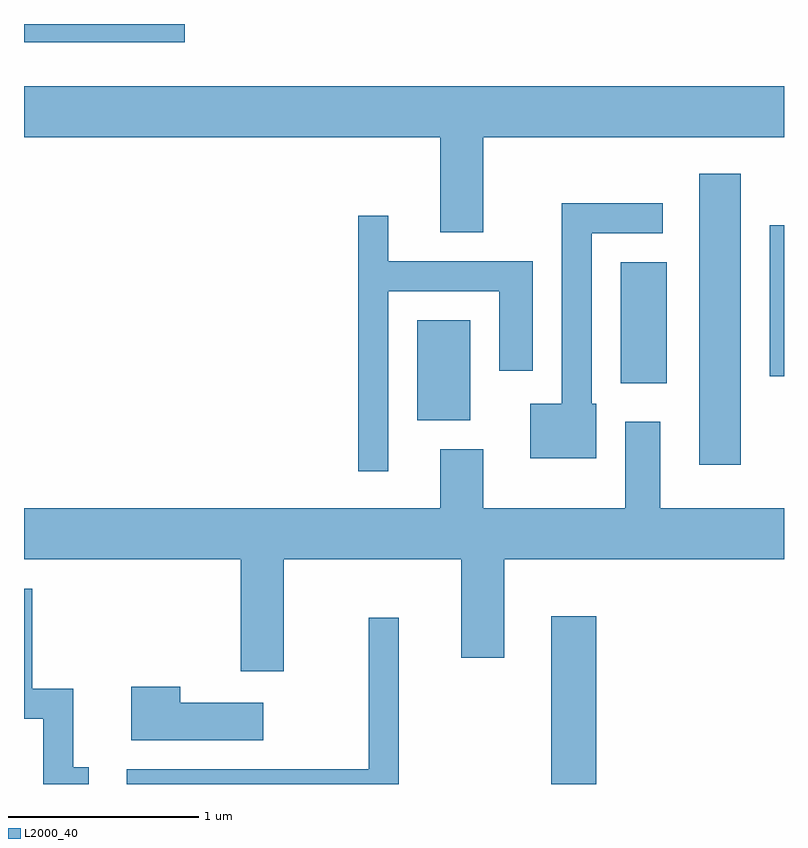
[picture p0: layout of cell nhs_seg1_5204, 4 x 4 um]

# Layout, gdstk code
import gdstk
lib = gdstk.Library(unit=1e-6, precision=1e-09)
def R(c, l, rs):  # rectangles x0, y0, x1, y1
    for r in rs: c.add(gdstk.rectangle(r[:2], r[2:], *l))
def P(c, l, *ps):  # polygons
    for p in ps: c.add(gdstk.Polygon(p, *l))
L2000_40 = (2000, 40)

nhs_seg1_5204 = lib.new_cell('nhs_seg1_5204')
R(nhs_seg1_5204, L2000_40, [(344.386,911.712,344.624,912.594), (345.166,913.391,345.384,914.924), (343.681,913.626,343.959,914.154), (344.751,913.821,344.994,914.459), (345.536,913.858,345.611,914.654), (341.611,915.616,342.458,915.712)])
P(nhs_seg1_5204, L2000_40, [(344.029,915.116),(345.611,915.116),(345.611,915.384),(341.611,915.384),(341.611,915.116),(343.801,915.116),(343.801,914.616),(344.029,914.616)],
  [(344.624,913.714),(344.599,913.714),(344.599,914.611),(344.973,914.611),(344.973,914.769),(344.441,914.769),(344.441,913.714),(344.276,913.714),(344.276,913.426),(344.624,913.426)],
  [(343.529,914.306),(344.111,914.306),(344.111,913.886),(344.289,913.886),(344.289,914.464),(343.529,914.464),(343.529,914.703),(343.371,914.703),(343.371,913.358),(343.529,913.358)],
  [(342.979,912.896),(343.911,912.896),(343.911,912.376),(344.139,912.376),(344.139,912.896),(345.611,912.896),(345.611,913.164),(344.959,913.164),(344.959,913.619),(344.776,913.619),(344.776,913.164),(344.029,913.164),(344.029,913.474),(343.801,913.474),(343.801,913.164),(341.611,913.164),(341.611,912.896),(342.751,912.896),(342.751,912.306),(342.979,912.306)],
  [(341.953,911.799),(341.869,911.799),(341.869,912.214),(341.654,912.214),(341.654,912.739),(341.611,912.739),(341.611,912.056),(341.711,912.056),(341.711,911.712),(341.953,911.712)],
  [(343.584,912.588),(343.426,912.588),(343.426,911.789),(342.153,911.789),(342.153,911.712),(343.584,911.712)],
  [(342.869,912.139),(342.434,912.139),(342.434,912.224),(342.176,912.224),(342.176,911.941),(342.869,911.941)])

lib.write_gds('nhs_seg1_5204.gds')
